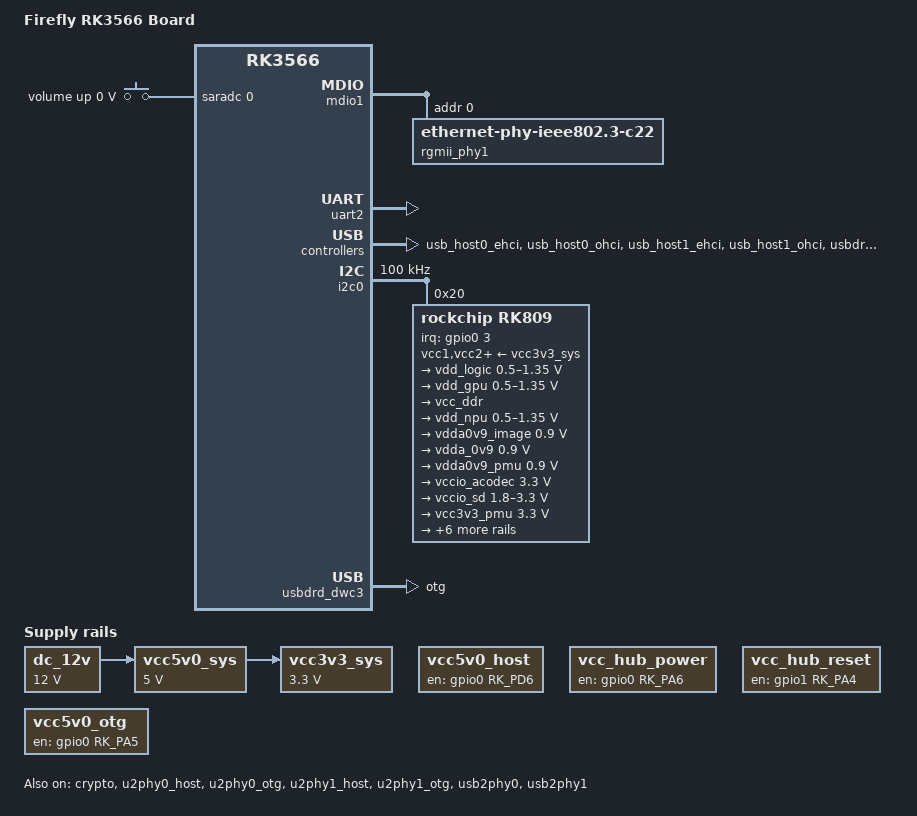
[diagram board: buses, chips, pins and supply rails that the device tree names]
/*
 * SPDX-License-Identifier:     GPL-2.0+
 *
 * (C) Copyright 2020 Rockchip Electronics Co., Ltd
 */

/dts-v1/;
#include "rk3568.dtsi"
#include "rk3568-u-boot.dtsi"
#include <dt-bindings/input/input.h>

/ {
	model = "Firefly RK3566 Board";
	compatible = "firefly,firefly-rk3566", "rockchip,rk3566";

	adc-keys {
		compatible = "adc-keys";
		io-channels = <&saradc 0>;
		io-channel-names = "buttons";
		keyup-threshold-microvolt = <1800000>;
		u-boot,dm-spl;
		status = "okay";

		volumeup-key {
			u-boot,dm-spl;
			linux,code = <KEY_VOLUMEUP>;
			label = "volume up";
			press-threshold-microvolt = <9>;
		};
	};
	
	dc_12v: dc-12v {
		u-boot,dm-pre-reloc;
		compatible = "regulator-fixed";
		regulator-name = "dc_12v";
		regulator-always-on;
		regulator-boot-on;
		regulator-min-microvolt = <12000000>;
		regulator-max-microvolt = <12000000>;
	};
	
	vcc5v0_sys: vcc5v0-sys {
		u-boot,dm-pre-reloc;
		compatible = "regulator-fixed";
		regulator-name = "vcc5v0_sys";
		regulator-always-on;
		regulator-boot-on;
		regulator-min-microvolt = <5000000>;
		regulator-max-microvolt = <5000000>;
		vin-supply = <&dc_12v>;
	};

	vcc3v3_sys: vcc3v3-sys {
		u-boot,dm-pre-reloc;
		compatible = "regulator-fixed";
		regulator-name = "vcc3v3_sys";
		regulator-always-on;
		regulator-boot-on;
		regulator-min-microvolt = <3300000>;
		regulator-max-microvolt = <3300000>;
		vin-supply = <&vcc5v0_sys>;
	};

	vcc5v0_host: vcc5v0-host-regulator {
		u-boot,dm-pre-reloc;
		compatible = "regulator-fixed";
		enable-active-high;
		gpio = <&gpio0 RK_PC5 GPIO_ACTIVE_HIGH>;
		pinctrl-names = "default";
		pinctrl-0 = <&vcc5v0_host_en>;
		regulator-name = "vcc5v0_host";
		regulator-always-on;
		regulator-boot-on;
	};

	vcc_hub_power: vcc-hub-power-regulator {
		compatible = "regulator-fixed";
		enable-active-high;
		gpio = <&gpio0 RK_PA6 GPIO_ACTIVE_HIGH>;
		pinctrl-names = "default";
		pinctrl-0 = <&vcc_hub_power_en>;
		regulator-name = "vcc_hub_power_en";
		regulator-always-on;
	};

	vcc_hub_reset: vcc-hub-reset-regulator {
		compatible = "regulator-fixed";
		enable-active-high;
		gpio = <&gpio1 RK_PA4 GPIO_ACTIVE_HIGH>;
		pinctrl-names = "default";
		pinctrl-0 = <&vcc_hub_reset_en>;
		regulator-name = "vcc_hub_reset_en";
		regulator-always-off;
	};

	vcc5v0_host: vcc5v0-host-regulator {
		compatible = "regulator-fixed";
		enable-active-high;
		gpio = <&gpio0 RK_PD6 GPIO_ACTIVE_HIGH>;
		pinctrl-names = "default";
		pinctrl-0 = <&vcc5v0_host_en>;
		regulator-name = "vcc5v0_host";
		regulator-always-on;
	};

	vcc5v0_otg: vcc5v0-otg-regulator {
		compatible = "regulator-fixed";
		enable-active-high;
		gpio = <&gpio0 RK_PA5 GPIO_ACTIVE_HIGH>;
		pinctrl-names = "default";
		pinctrl-0 = <&vcc5v0_otg_en>;
		regulator-name = "vcc5v0_otg";
		regulator-always-on;
	};
};

&gmac1 {
	phy-mode = "rgmii";
	clock_in_out = "output";

	snps,reset-gpio = <&gpio2 RK_PD1 GPIO_ACTIVE_LOW>;
	snps,reset-active-low;
	/* Reset time is 20ms, 100ms for rtl8211f */
	snps,reset-delays-us = <0 20000 100000>;

	assigned-clocks = <&cru SCLK_GMAC1_RX_TX>, <&cru SCLK_GMAC1>;
	assigned-clock-parents = <&cru SCLK_GMAC1_RGMII_SPEED>;
	assigned-clock-rates = <0>, <125000000>;

	pinctrl-names = "default";
	pinctrl-0 = <&gmac1m1_miim
		     &gmac1m1_tx_bus2
		     &gmac1m1_rx_bus2
		     &gmac1m1_rgmii_clk
		     &gmac1m1_rgmii_bus>;

	tx_delay = <0x4f>;
	rx_delay = <0x26>;

	phy-handle = <&rgmii_phy1>;
	status = "disabled";
};

&mdio1 {
	rgmii_phy1: phy@0 {
		compatible = "ethernet-phy-ieee802.3-c22";
		reg = <0x0>;
	};
};

&pinctrl {
	u-boot,dm-spl;
	pmic {
		u-boot,dm-pre-reloc;
		pmic_int: pmic_int {
			u-boot,dm-pre-reloc;
			rockchip,pins =
				<0 RK_PA3 RK_FUNC_GPIO &pcfg_pull_up>;
		};

		//soc_slppin_gpio: soc_slppin_gpio {
		//	u-boot,dm-pre-reloc;
		//	rockchip,pins =
		//	//	<0 RK_PA2 RK_FUNC_GPIO &pcfg_output_low_pull_down>;
		//};

		soc_slppin_slp: soc_slppin_slp {
			u-boot,dm-pre-reloc;
			rockchip,pins =
				<0 RK_PA2 RK_FUNC_1 &pcfg_pull_up>;
		};

		soc_slppin_rst: soc_slppin_rst {
			u-boot,dm-pre-reloc;
			rockchip,pins =
				<0 RK_PA2 RK_FUNC_2 &pcfg_pull_none>;
		};
	};

	usb {
		vcc_hub_power_en: vcc-hub-power-en {
			rockchip,pins = <0 RK_PA6 RK_FUNC_GPIO &pcfg_pull_none>;
		};

		vcc_hub_reset_en: vcc-hub-reset-en {
			rockchip,pins = <1 RK_PA4 RK_FUNC_GPIO &pcfg_pull_none>;
		};

		vcc5v0_host_en: vcc5v0-host-en {
			rockchip,pins = <0 RK_PD6 RK_FUNC_GPIO &pcfg_pull_none>;
		};

		vcc5v0_otg_en: vcc5v0-otg-en {
			rockchip,pins = <0 RK_PA5 RK_FUNC_GPIO &pcfg_pull_none>;
		};
	};
};

&crypto {
	status = "okay";
};

&uart2 {
	status = "okay";
};

&u2phy0_host {
	phy-supply = <&vcc5v0_host>;
	status = "okay";
};

&u2phy0_otg {
	vbus-supply = <&vcc5v0_otg>;
	status = "okay";
};

&u2phy1_host {
	phy-supply = <&vcc5v0_host>;
	status = "okay";
};

&u2phy1_otg {
	phy-supply = <&vcc5v0_host>;
	status = "okay";
};

&usb2phy0 {
	status = "okay";
};

&usb2phy1 {
	status = "okay";
};

&usb_host0_ehci {
	status = "okay";
};

&usb_host0_ohci {
	status = "okay";
};

&i2c0 {
	status = "okay";
	u-boot,dm-pre-reloc;
	clock-frequency = <100000>;
	
	rk809: pmic@20 {
		u-boot,dm-pre-reloc;
		status = "okay";
		compatible = "rockchip,rk809";
		reg = <0x20>;
		interrupt-parent = <&gpio0>;
		interrupts = <3 IRQ_TYPE_LEVEL_LOW>;

		pinctrl-names = "default", "pmic-sleep",
				"pmic-power-off", "pmic-reset";
		pinctrl-1 = <&soc_slppin_slp>, <&rk817_slppin_slp>;
		pinctrl-2 = <&rk817_slppin_pwrdn>;
		pinctrl-3 = <&rk817_slppin_rst>;

		rockchip,system-power-controller;
		wakeup-source;
		#clock-cells = <1>;
		clock-output-names = "rk808-clkout1", "rk808-clkout2";
		/* 1: rst regs (default in codes), 0: rst the pmic */
		pmic-reset-func = <0>;
		/* not save the PMIC_POWER_EN register in uboot */
		not-save-power-en = <1>;

		vcc1-supply = <&vcc3v3_sys>;
		vcc2-supply = <&vcc3v3_sys>;
		vcc3-supply = <&vcc3v3_sys>;
		vcc4-supply = <&vcc3v3_sys>;
		vcc5-supply = <&vcc3v3_sys>;
		vcc6-supply = <&vcc3v3_sys>;
		vcc7-supply = <&vcc3v3_sys>;
		vcc8-supply = <&vcc3v3_sys>;
		vcc9-supply = <&vcc3v3_sys>;

		pwrkey {
			status = "okay";
			u-boot,dm-pre-reloc;
		};

		pinctrl_rk8xx: pinctrl_rk8xx {
			u-boot,dm-pre-reloc;
			gpio-controller;
			#gpio-cells = <2>;

			rk817_slppin_null: rk817_slppin_null {
				pins = "gpio_slp";
				function = "pin_fun0";
				u-boot,dm-pre-reloc;
			};

			rk817_slppin_slp: rk817_slppin_slp {
				pins = "gpio_slp";
				function = "pin_fun1";
				u-boot,dm-pre-reloc;
			};

			rk817_slppin_pwrdn: rk817_slppin_pwrdn {
				pins = "gpio_slp";
				function = "pin_fun2";
				u-boot,dm-pre-reloc;
			};

			rk817_slppin_rst: rk817_slppin_rst {
				pins = "gpio_slp";
				function = "pin_fun3";
				u-boot,dm-pre-reloc;
			};
		};

		regulators {
			u-boot,dm-pre-reloc;
			vdd_logic: DCDC_REG1 {
				u-boot,dm-pre-reloc;
				regulator-always-on;
				regulator-boot-on;
				regulator-min-microvolt = <500000>;
				regulator-max-microvolt = <1350000>;
				regulator-init-microvolt = <900000>;
				regulator-ramp-delay = <6001>;
				regulator-initial-mode = <0x2>;
				regulator-name = "vdd_logic";
				regulator-state-mem {
					u-boot,dm-pre-reloc;
					regulator-on-in-suspend;
				};
			};

			vdd_gpu: DCDC_REG2 {
				u-boot,dm-pre-reloc;
				regulator-always-on;
				regulator-boot-on;
				regulator-min-microvolt = <500000>;
				regulator-max-microvolt = <1350000>;
				regulator-init-microvolt = <900000>;
				regulator-ramp-delay = <6001>;
				regulator-initial-mode = <0x2>;
				regulator-name = "vdd_gpu";
				regulator-state-mem {
					u-boot,dm-pre-reloc;
					regulator-on-in-suspend;
				};
			};

			vcc_ddr: DCDC_REG3 {
				u-boot,dm-pre-reloc;
				regulator-always-on;
				regulator-boot-on;
				regulator-initial-mode = <0x2>;
				regulator-name = "vcc_ddr";
				regulator-state-mem {
					u-boot,dm-pre-reloc;
					regulator-on-in-suspend;
				};
			};

			vdd_npu: DCDC_REG4 {
				u-boot,dm-pre-reloc;
				regulator-always-on;
				regulator-boot-on;
				regulator-min-microvolt = <500000>;
				regulator-max-microvolt = <1350000>;
				regulator-init-microvolt = <900000>;
				regulator-ramp-delay = <6001>;
				regulator-initial-mode = <0x2>;
				regulator-name = "vdd_npu";
				regulator-state-mem {
					u-boot,dm-pre-reloc;
					regulator-on-in-suspend;
				};
			};

			vdda0v9_image: LDO_REG1 {
				u-boot,dm-pre-reloc;
				regulator-boot-on;
				regulator-always-on;
				regulator-min-microvolt = <900000>;
				regulator-max-microvolt = <900000>;
				regulator-name = "vdda0v9_image";
				regulator-state-mem {
					u-boot,dm-pre-reloc;
					regulator-off-in-suspend;
				};
			};

			vdda_0v9: LDO_REG2 {
				u-boot,dm-pre-reloc;
				regulator-always-on;
				regulator-boot-on;
				regulator-min-microvolt = <900000>;
				regulator-max-microvolt = <900000>;
				regulator-name = "vdda_0v9";
				regulator-state-mem {
					u-boot,dm-pre-reloc;
					regulator-off-in-suspend;
				};
			};

			vdda0v9_pmu: LDO_REG3 {
				u-boot,dm-pre-reloc;
				regulator-always-on;
				regulator-boot-on;
				regulator-min-microvolt = <900000>;
				regulator-max-microvolt = <900000>;
				regulator-name = "vdda0v9_pmu";
				regulator-state-mem {
					u-boot,dm-pre-reloc;
					regulator-on-in-suspend;
					regulator-suspend-microvolt = <900000>;
				};
			};

			vccio_acodec: LDO_REG4 {
				u-boot,dm-pre-reloc;
				regulator-always-on;
				regulator-boot-on;
				regulator-min-microvolt = <3300000>;
				regulator-max-microvolt = <3300000>;
				regulator-name = "vccio_acodec";
				regulator-state-mem {
					u-boot,dm-pre-reloc;
					regulator-off-in-suspend;
				};
			};

			vccio_sd: LDO_REG5 {
				u-boot,dm-pre-reloc;
				regulator-always-on;
				regulator-boot-on;
				regulator-min-microvolt = <1800000>;
				regulator-max-microvolt = <3300000>;
				regulator-name = "vccio_sd";
				regulator-state-mem {
					u-boot,dm-pre-reloc;
					regulator-off-in-suspend;
				};
			};

			vcc3v3_pmu: LDO_REG6 {
				u-boot,dm-pre-reloc;
				regulator-always-on;
				regulator-boot-on;
				regulator-min-microvolt = <3300000>;
				regulator-max-microvolt = <3300000>;
				regulator-name = "vcc3v3_pmu";
				regulator-state-mem {
					u-boot,dm-pre-reloc;
					regulator-on-in-suspend;
					regulator-suspend-microvolt = <3300000>;
				};
			};

			vcca_1v8: LDO_REG7 {
				u-boot,dm-pre-reloc;
				regulator-always-on;
				regulator-boot-on;
				regulator-min-microvolt = <1800000>;
				regulator-max-microvolt = <1800000>;
				regulator-name = "vcca_1v8";
				regulator-state-mem {
					u-boot,dm-pre-reloc;
					regulator-off-in-suspend;
				};
			};

			vcca1v8_pmu: LDO_REG8 {
				u-boot,dm-pre-reloc;
				regulator-always-on;
				regulator-boot-on;
				regulator-min-microvolt = <1800000>;
				regulator-max-microvolt = <1800000>;
				regulator-name = "vcca1v8_pmu";
				regulator-state-mem {
					u-boot,dm-pre-reloc;
					regulator-on-in-suspend;
					regulator-suspend-microvolt = <1800000>;
				};
			};

			vcca1v8_image: LDO_REG9 {
				u-boot,dm-pre-reloc;
				regulator-always-on;
				regulator-boot-on;
				regulator-min-microvolt = <1800000>;
				regulator-max-microvolt = <1800000>;
				regulator-name = "vcca1v8_image";
				regulator-state-mem {
					u-boot,dm-pre-reloc;
					regulator-off-in-suspend;
				};
			};

			vcc_1v8: DCDC_REG5 {
				u-boot,dm-pre-reloc;
				regulator-always-on;
				regulator-boot-on;
				regulator-min-microvolt = <1800000>;
				regulator-max-microvolt = <1800000>;
				regulator-name = "vcc_1v8";
				regulator-state-mem {
					u-boot,dm-pre-reloc;
					regulator-off-in-suspend;
				};
			};

			vcc_3v3: SWITCH_REG1 {
				u-boot,dm-pre-reloc;
				regulator-always-on;
				regulator-boot-on;
				regulator-name = "vcc_3v3";
				regulator-state-mem {
					u-boot,dm-pre-reloc;
					regulator-off-in-suspend;
				};
			};

			vcc3v3_sd: SWITCH_REG2 {
				u-boot,dm-pre-reloc;
				regulator-always-on;
				regulator-boot-on;
				regulator-name = "vcc3v3_sd";
				regulator-state-mem {
					u-boot,dm-pre-reloc;
					regulator-off-in-suspend;
				};
			};
		};
	};
};

&usb_host1_ehci {
	status = "okay";
};

&usb_host1_ohci {
	status = "okay";
};

&usbdrd_dwc3 {
	dr_mode = "otg";
	extcon = <&usb2phy0>;
	status = "okay";
};

&usbdrd30 {
	status = "okay";
};

&usbhost_dwc3 {
	status = "okay";
};

&usbhost30 {
	status = "okay";
};
